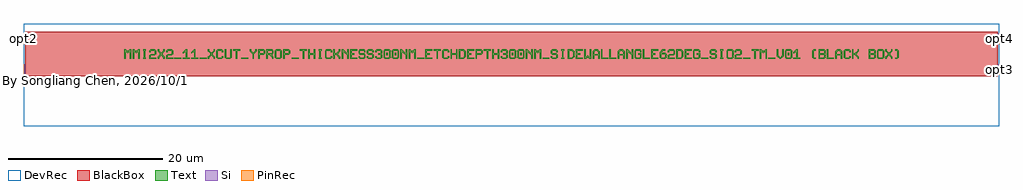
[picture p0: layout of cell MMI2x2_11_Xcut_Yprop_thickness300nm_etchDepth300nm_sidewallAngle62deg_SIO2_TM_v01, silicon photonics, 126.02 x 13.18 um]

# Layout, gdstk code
import gdstk
lib = gdstk.Library(unit=1e-6, precision=1e-10)
def R(c, l, rs):  # rectangles x0, y0, x1, y1
    for r in rs: c.add(gdstk.rectangle(r[:2], r[2:], *l))
def A(c, l, x, y, w, h, nx, ny, dx, dy):  # array of equal rectangles
    R(c, l, [(x+i*dx, y+j*dy, x+i*dx+w, y+j*dy+h) for i in range(nx) for j in range(ny)])
def P(c, l, *ps):  # polygons
    for p in ps: c.add(gdstk.Polygon(p, *l))
Si = (1, 0)
PinRec = (1, 10)
Text = (10, 0)
DevRec = (68, 0)
BlackBox = (998, 0)

text = lib.new_cell('TEXT')
A(text, Text, 21.6, 0, 0.9, 0.18, 3, 1, 16.2, 0)
R(text, Text, [(6.48,0,7.38,0.18), (9.72,0,10.62,0.18), (15.12,0,16.02,0.18), (74.52,0,75.42,0.18), (79.92,0,80.82,0.18), (83.16,0,84.06,0.18), (33.84,0.45,34.02,0.81), (34.92,0.45,35.1,0.81), (50.04,0.45,50.22,0.81), (51.12,0.45,51.3,0.81), (85.68,0.45,85.86,0.81)])
P(text, Text, [(0,0),(0,1.261),(0.18,1.261),(0.36,1.08),(0.54,1.08),(0.72,1.261),(0.9,1.261),(0.9,0),(0.72,0),(0.72,0.9),(0.63,0.9),(0.45,0.72),(0.27,0.9),(0.18,0.9),(0.18,0)],
  [(1.08,0),(1.08,1.261),(1.26,1.261),(1.44,1.08),(1.62,1.08),(1.8,1.261),(1.98,1.261),(1.98,0),(1.8,0),(1.8,0.9),(1.71,0.9),(1.53,0.72),(1.35,0.9),(1.26,0.9),(1.26,0)],
  [(2.43,0),(2.43,0.18),(2.52,0.18),(2.52,1.08),(2.43,1.08),(2.43,1.261),(2.79,1.261),(2.79,1.08),(2.7,1.08),(2.7,0.18),(2.79,0.18),(2.79,0)],
  [(3.24,0),(3.24,0.45),(3.42,0.63),(3.87,0.63),(3.96,0.72),(3.96,0.99),(3.87,1.08),(3.51,1.08),(3.42,0.99),(3.42,0.9),(3.24,0.9),(3.24,1.08),(3.42,1.261),(3.96,1.261),(4.14,1.08),(4.14,0.63),(3.96,0.45),(3.51,0.45),(3.42,0.36),(3.42,0.18),(4.14,0.18),(4.14,0)],
  [(4.32,0),(4.32,0.27),(4.59,0.54),(4.59,0.72),(4.32,0.99),(4.32,1.261),(4.5,1.261),(4.5,1.08),(4.77,0.81),(5.04,1.08),(5.04,1.261),(5.22,1.261),(5.22,0.99),(4.95,0.72),(4.95,0.54),(5.22,0.27),(5.22,0),(5.04,0),(5.04,0.18),(4.77,0.45),(4.5,0.18),(4.5,0)],
  [(5.4,0),(5.4,0.45),(5.58,0.63),(6.03,0.63),(6.12,0.72),(6.12,0.99),(6.03,1.08),(5.67,1.08),(5.58,0.99),(5.58,0.9),(5.4,0.9),(5.4,1.08),(5.58,1.261),(6.12,1.261),(6.3,1.08),(6.3,0.63),(6.12,0.45),(5.67,0.45),(5.58,0.36),(5.58,0.18),(6.3,0.18),(6.3,0)],
  [(7.56,0),(7.56,0.18),(7.92,0.18),(7.92,0.9),(7.83,0.9),(7.65,0.72),(7.56,0.72),(7.56,0.9),(7.92,1.261),(8.1,1.261),(8.1,0.18),(8.46,0.18),(8.46,0)],
  [(8.64,0),(8.64,0.18),(9,0.18),(9,0.9),(8.91,0.9),(8.73,0.72),(8.64,0.72),(8.64,0.9),(9,1.261),(9.18,1.261),(9.18,0.18),(9.54,0.18),(9.54,0)],
  [(10.8,0),(10.8,0.27),(11.07,0.54),(11.07,0.72),(10.8,0.99),(10.8,1.261),(10.98,1.261),(10.98,1.08),(11.25,0.81),(11.52,1.08),(11.52,1.261),(11.7,1.261),(11.7,0.99),(11.43,0.72),(11.43,0.54),(11.7,0.27),(11.7,0),(11.52,0),(11.52,0.18),(11.25,0.45),(10.98,0.18),(10.98,0)],
  [(12.06,0),(11.88,0.18),(11.88,1.08),(12.06,1.261),(12.6,1.261),(12.78,1.08),(12.78,0.9),(12.6,0.9),(12.6,0.99),(12.51,1.08),(12.15,1.08),(12.06,0.99),(12.06,0.27),(12.15,0.18),(12.51,0.18),(12.6,0.27),(12.6,0.36),(12.78,0.36),(12.78,0.18),(12.6,0)],
  [(13.14,0),(12.96,0.18),(12.96,1.261),(13.14,1.261),(13.14,0.27),(13.23,0.18),(13.59,0.18),(13.68,0.27),(13.68,1.261),(13.86,1.261),(13.86,0.18),(13.68,0)],
  [(14.4,0),(14.4,1.08),(14.04,1.08),(14.04,1.261),(14.94,1.261),(14.94,1.08),(14.58,1.08),(14.58,0)],
  [(16.56,0),(16.56,0.63),(16.2,0.99),(16.2,1.261),(16.38,1.261),(16.38,1.08),(16.65,0.81),(16.92,1.08),(16.92,1.261),(17.1,1.261),(17.1,0.99),(16.74,0.63),(16.74,0)],
  [(17.28,0),(17.28,1.261),(18,1.261),(18.18,1.08),(18.18,0.72),(18,0.54),(17.46,0.54),(17.46,0.72),(17.91,0.72),(18,0.81),(18,0.99),(17.91,1.08),(17.46,1.08),(17.46,0)],
  [(18.36,0),(18.36,1.261),(19.08,1.261),(19.26,1.08),(18.54,1.08),(18.54,0.72),(18.99,0.72),(19.08,0.81),(19.08,0.99),(18.99,1.08),(19.26,1.08),(19.26,0.72),(19.08,0.54),(19.08,0.45),(19.26,0.27),(19.26,0),(19.08,0),(19.08,0.18),(18.72,0.54),(18.54,0.54),(18.54,0)],
  [(19.62,0),(19.44,0.18),(19.44,1.08),(19.62,1.261),(20.16,1.261),(20.34,1.08),(20.34,0.63),(20.16,0.63),(20.16,0.99),(20.07,1.08),(19.71,1.08),(19.62,0.99),(19.62,0.27),(19.71,0.18),(20.07,0.18),(20.16,0.27),(20.16,0.63),(20.34,0.63),(20.34,0.18),(20.16,0)],
  [(20.52,0),(20.52,1.261),(21.24,1.261),(21.42,1.08),(21.42,0.72),(21.24,0.54),(20.7,0.54),(20.7,0.72),(21.15,0.72),(21.24,0.81),(21.24,0.99),(21.15,1.08),(20.7,1.08),(20.7,0)],
  [(23.04,0),(23.04,1.08),(22.68,1.08),(22.68,1.261),(23.58,1.261),(23.58,1.08),(23.22,1.08),(23.22,0)],
  [(23.76,0),(23.76,1.261),(23.94,1.261),(23.94,0.72),(24.48,0.72),(24.48,1.261),(24.66,1.261),(24.66,0),(24.48,0),(24.48,0.54),(23.94,0.54),(23.94,0)],
  [(25.11,0),(25.11,0.18),(25.2,0.18),(25.2,1.08),(25.11,1.08),(25.11,1.261),(25.47,1.261),(25.47,1.08),(25.38,1.08),(25.38,0.18),(25.47,0.18),(25.47,0)],
  [(26.1,0),(25.92,0.18),(25.92,1.08),(26.1,1.261),(26.64,1.261),(26.82,1.08),(26.82,0.9),(26.64,0.9),(26.64,0.99),(26.55,1.08),(26.19,1.08),(26.1,0.99),(26.1,0.27),(26.19,0.18),(26.55,0.18),(26.64,0.27),(26.64,0.36),(26.82,0.36),(26.82,0.18),(26.64,0)],
  [(27,0),(27,1.261),(27.18,1.261),(27.18,0.72),(27.36,0.72),(27.72,1.08),(27.72,1.261),(27.9,1.261),(27.9,0.99),(27.54,0.63),(27.9,0.27),(27.9,0),(27.72,0),(27.72,0.18),(27.36,0.54),(27.18,0.54),(27.18,0)],
  [(28.08,0),(28.08,1.261),(28.26,1.261),(28.71,0.81),(28.8,0.81),(28.8,1.261),(28.98,1.261),(28.98,0),(28.8,0),(28.8,0.45),(28.35,0.9),(28.26,0.9),(28.26,0)],
  [(29.16,0),(29.16,1.261),(30.06,1.261),(30.06,1.08),(29.34,1.08),(29.34,0.72),(29.7,0.72),(29.7,0.54),(29.34,0.54),(29.34,0.18),(30.06,0.18),(30.06,0)],
  [(30.42,0),(30.24,0.18),(30.24,0.36),(30.42,0.36),(30.42,0.27),(30.51,0.18),(30.87,0.18),(30.96,0.27),(30.96,0.45),(30.87,0.54),(30.42,0.54),(30.24,0.72),(30.24,1.08),(30.42,1.261),(30.96,1.261),(31.14,1.08),(31.14,0.9),(30.96,0.9),(30.96,0.99),(30.87,1.08),(30.51,1.08),(30.42,0.99),(30.42,0.81),(30.51,0.72),(30.96,0.72),(31.14,0.54),(31.14,0.18),(30.96,0)],
  [(31.5,0),(31.32,0.18),(31.32,0.36),(31.5,0.36),(31.5,0.27),(31.59,0.18),(31.95,0.18),(32.04,0.27),(32.04,0.45),(31.95,0.54),(31.5,0.54),(31.32,0.72),(31.32,1.08),(31.5,1.261),(32.04,1.261),(32.22,1.08),(32.22,0.9),(32.04,0.9),(32.04,0.99),(31.95,1.08),(31.59,1.08),(31.5,0.99),(31.5,0.81),(31.59,0.72),(32.04,0.72),(32.22,0.54),(32.22,0.18),(32.04,0)],
  [(32.58,0),(32.4,0.18),(32.4,0.36),(32.58,0.36),(32.58,0.27),(32.67,0.18),(33.03,0.18),(33.12,0.27),(33.12,0.45),(33.03,0.54),(32.76,0.54),(32.76,0.72),(33.03,0.72),(33.12,0.81),(33.12,0.99),(33.03,1.08),(32.67,1.08),(32.58,0.99),(32.58,0.9),(32.4,0.9),(32.4,1.08),(32.58,1.261),(33.12,1.261),(33.3,1.08),(33.3,0.72),(33.21,0.63),(33.3,0.54),(33.3,0.18),(33.12,0)],
  [(33.66,0),(33.48,0.18),(33.48,1.08),(33.66,1.261),(34.2,1.261),(34.38,1.08),(33.75,1.08),(33.66,0.99),(33.66,0.27),(33.75,0.18),(34.11,0.18),(34.2,0.27),(34.2,0.99),(34.11,1.08),(34.38,1.08),(34.38,0.18),(34.2,0)],
  [(34.74,0),(34.56,0.18),(34.56,1.08),(34.74,1.261),(35.28,1.261),(35.46,1.08),(34.83,1.08),(34.74,0.99),(34.74,0.27),(34.83,0.18),(35.19,0.18),(35.28,0.27),(35.28,0.99),(35.19,1.08),(35.46,1.08),(35.46,0.18),(35.28,0)],
  [(35.64,0),(35.64,1.261),(35.82,1.261),(36.27,0.81),(36.36,0.81),(36.36,1.261),(36.54,1.261),(36.54,0),(36.36,0),(36.36,0.45),(35.91,0.9),(35.82,0.9),(35.82,0)],
  [(36.72,0),(36.72,1.261),(36.9,1.261),(37.08,1.08),(37.26,1.08),(37.44,1.261),(37.62,1.261),(37.62,0),(37.44,0),(37.44,0.9),(37.35,0.9),(37.17,0.72),(36.99,0.9),(36.9,0.9),(36.9,0)],
  [(38.88,0),(38.88,1.261),(39.78,1.261),(39.78,1.08),(39.06,1.08),(39.06,0.72),(39.42,0.72),(39.42,0.54),(39.06,0.54),(39.06,0.18),(39.78,0.18),(39.78,0)],
  [(40.32,0),(40.32,1.08),(39.96,1.08),(39.96,1.261),(40.86,1.261),(40.86,1.08),(40.5,1.08),(40.5,0)],
  [(41.22,0),(41.04,0.18),(41.04,1.08),(41.22,1.261),(41.76,1.261),(41.94,1.08),(41.94,0.9),(41.76,0.9),(41.76,0.99),(41.67,1.08),(41.31,1.08),(41.22,0.99),(41.22,0.27),(41.31,0.18),(41.67,0.18),(41.76,0.27),(41.76,0.36),(41.94,0.36),(41.94,0.18),(41.76,0)],
  [(42.12,0),(42.12,1.261),(42.3,1.261),(42.3,0.72),(42.84,0.72),(42.84,1.261),(43.02,1.261),(43.02,0),(42.84,0),(42.84,0.54),(42.3,0.54),(42.3,0)],
  [(43.2,0),(43.2,1.261),(43.83,1.261),(44.01,1.08),(43.38,1.08),(43.38,0.18),(43.74,0.18),(43.92,0.36),(43.92,0.9),(43.74,1.08),(44.01,1.08),(44.1,0.99),(44.1,0.27),(43.83,0)],
  [(44.28,0),(44.28,1.261),(45.18,1.261),(45.18,1.08),(44.46,1.08),(44.46,0.72),(44.82,0.72),(44.82,0.54),(44.46,0.54),(44.46,0.18),(45.18,0.18),(45.18,0)],
  [(45.36,0),(45.36,1.261),(46.08,1.261),(46.26,1.08),(46.26,0.72),(46.08,0.54),(45.54,0.54),(45.54,0.72),(45.99,0.72),(46.08,0.81),(46.08,0.99),(45.99,1.08),(45.54,1.08),(45.54,0)],
  [(46.8,0),(46.8,1.08),(46.44,1.08),(46.44,1.261),(47.34,1.261),(47.34,1.08),(46.98,1.08),(46.98,0)],
  [(47.52,0),(47.52,1.261),(47.7,1.261),(47.7,0.72),(48.24,0.72),(48.24,1.261),(48.42,1.261),(48.42,0),(48.24,0),(48.24,0.54),(47.7,0.54),(47.7,0)],
  [(48.78,0),(48.6,0.18),(48.6,0.36),(48.78,0.36),(48.78,0.27),(48.87,0.18),(49.23,0.18),(49.32,0.27),(49.32,0.45),(49.23,0.54),(48.96,0.54),(48.96,0.72),(49.23,0.72),(49.32,0.81),(49.32,0.99),(49.23,1.08),(48.87,1.08),(48.78,0.99),(48.78,0.9),(48.6,0.9),(48.6,1.08),(48.78,1.261),(49.32,1.261),(49.5,1.08),(49.5,0.72),(49.41,0.63),(49.5,0.54),(49.5,0.18),(49.32,0)],
  [(49.86,0),(49.68,0.18),(49.68,1.08),(49.86,1.261),(50.4,1.261),(50.58,1.08),(49.95,1.08),(49.86,0.99),(49.86,0.27),(49.95,0.18),(50.31,0.18),(50.4,0.27),(50.4,0.99),(50.31,1.08),(50.58,1.08),(50.58,0.18),(50.4,0)],
  [(50.94,0),(50.76,0.18),(50.76,1.08),(50.94,1.261),(51.48,1.261),(51.66,1.08),(51.03,1.08),(50.94,0.99),(50.94,0.27),(51.03,0.18),(51.39,0.18),(51.48,0.27),(51.48,0.99),(51.39,1.08),(51.66,1.08),(51.66,0.18),(51.48,0)],
  [(51.84,0),(51.84,1.261),(52.02,1.261),(52.47,0.81),(52.56,0.81),(52.56,1.261),(52.74,1.261),(52.74,0),(52.56,0),(52.56,0.45),(52.11,0.9),(52.02,0.9),(52.02,0)],
  [(52.92,0),(52.92,1.261),(53.1,1.261),(53.28,1.08),(53.46,1.08),(53.64,1.261),(53.82,1.261),(53.82,0),(53.64,0),(53.64,0.9),(53.55,0.9),(53.37,0.72),(53.19,0.9),(53.1,0.9),(53.1,0)],
  [(55.26,0),(55.08,0.18),(55.08,0.36),(55.26,0.36),(55.26,0.27),(55.35,0.18),(55.71,0.18),(55.8,0.27),(55.8,0.45),(55.71,0.54),(55.26,0.54),(55.08,0.72),(55.08,1.08),(55.26,1.261),(55.8,1.261),(55.98,1.08),(55.98,0.9),(55.8,0.9),(55.8,0.99),(55.71,1.08),(55.35,1.08),(55.26,0.99),(55.26,0.81),(55.35,0.72),(55.8,0.72),(55.98,0.54),(55.98,0.18),(55.8,0)],
  [(56.43,0),(56.43,0.18),(56.52,0.18),(56.52,1.08),(56.43,1.08),(56.43,1.261),(56.79,1.261),(56.79,1.08),(56.7,1.08),(56.7,0.18),(56.79,0.18),(56.79,0)],
  [(57.24,0),(57.24,1.261),(57.87,1.261),(58.05,1.08),(57.42,1.08),(57.42,0.18),(57.78,0.18),(57.96,0.36),(57.96,0.9),(57.78,1.08),(58.05,1.08),(58.14,0.99),(58.14,0.27),(57.87,0)],
  [(58.32,0),(58.32,1.261),(59.22,1.261),(59.22,1.08),(58.5,1.08),(58.5,0.72),(58.86,0.72),(58.86,0.54),(58.5,0.54),(58.5,0.18),(59.22,0.18),(59.22,0)],
  [(59.4,0),(59.4,1.261),(59.58,1.261),(59.58,0.27),(59.67,0.27),(59.85,0.45),(60.03,0.27),(60.12,0.27),(60.12,1.261),(60.3,1.261),(60.3,0),(60.03,0),(59.85,0.18),(59.67,0)],
  [(60.48,0),(60.48,0.99),(60.75,1.261),(61.11,1.261),(61.29,1.08),(60.84,1.08),(60.66,0.9),(60.66,0.63),(61.2,0.63),(61.2,0.9),(61.02,1.08),(61.29,1.08),(61.38,0.99),(61.38,0),(61.2,0),(61.2,0.45),(60.66,0.45),(60.66,0)],
  [(61.56,0),(61.56,1.261),(61.74,1.261),(61.74,0.18),(62.46,0.18),(62.46,0)],
  [(62.64,0),(62.64,1.261),(62.82,1.261),(62.82,0.18),(63.54,0.18),(63.54,0)],
  [(63.72,0),(63.72,0.99),(63.99,1.261),(64.35,1.261),(64.53,1.08),(64.08,1.08),(63.9,0.9),(63.9,0.63),(64.44,0.63),(64.44,0.9),(64.26,1.08),(64.53,1.08),(64.62,0.99),(64.62,0),(64.44,0),(64.44,0.45),(63.9,0.45),(63.9,0)],
  [(64.8,0),(64.8,1.261),(64.98,1.261),(65.43,0.81),(65.52,0.81),(65.52,1.261),(65.7,1.261),(65.7,0),(65.52,0),(65.52,0.45),(65.07,0.9),(64.98,0.9),(64.98,0)],
  [(66.06,0),(65.88,0.18),(65.88,1.08),(66.06,1.261),(66.6,1.261),(66.78,1.08),(66.78,0.9),(66.6,0.9),(66.6,0.99),(66.51,1.08),(66.15,1.08),(66.06,0.99),(66.06,0.27),(66.15,0.18),(66.51,0.18),(66.6,0.27),(66.6,0.54),(66.33,0.54),(66.33,0.72),(66.78,0.72),(66.78,0.18),(66.6,0)],
  [(66.96,0),(66.96,1.261),(67.14,1.261),(67.14,0.18),(67.86,0.18),(67.86,0)],
  [(68.04,0),(68.04,1.261),(68.94,1.261),(68.94,1.08),(68.22,1.08),(68.22,0.72),(68.58,0.72),(68.58,0.54),(68.22,0.54),(68.22,0.18),(68.94,0.18),(68.94,0)],
  [(69.3,0),(69.12,0.18),(69.12,0.9),(69.48,1.261),(69.84,1.261),(69.84,1.08),(69.57,1.08),(69.39,0.9),(69.39,0.81),(69.84,0.81),(70.02,0.63),(69.39,0.63),(69.3,0.54),(69.3,0.27),(69.39,0.18),(69.75,0.18),(69.84,0.27),(69.84,0.54),(69.75,0.63),(70.02,0.63),(70.02,0.18),(69.84,0)],
  [(70.2,0),(70.2,0.45),(70.38,0.63),(70.83,0.63),(70.92,0.72),(70.92,0.99),(70.83,1.08),(70.47,1.08),(70.38,0.99),(70.38,0.9),(70.2,0.9),(70.2,1.08),(70.38,1.261),(70.92,1.261),(71.1,1.08),(71.1,0.63),(70.92,0.45),(70.47,0.45),(70.38,0.36),(70.38,0.18),(71.1,0.18),(71.1,0)],
  [(71.28,0),(71.28,1.261),(71.91,1.261),(72.09,1.08),(71.46,1.08),(71.46,0.18),(71.82,0.18),(72,0.36),(72,0.9),(71.82,1.08),(72.09,1.08),(72.18,0.99),(72.18,0.27),(71.91,0)],
  [(72.36,0),(72.36,1.261),(73.26,1.261),(73.26,1.08),(72.54,1.08),(72.54,0.72),(72.9,0.72),(72.9,0.54),(72.54,0.54),(72.54,0.18),(73.26,0.18),(73.26,0)],
  [(73.62,0),(73.44,0.18),(73.44,1.08),(73.62,1.261),(74.16,1.261),(74.34,1.08),(74.34,0.9),(74.16,0.9),(74.16,0.99),(74.07,1.08),(73.71,1.08),(73.62,0.99),(73.62,0.27),(73.71,0.18),(74.07,0.18),(74.16,0.27),(74.16,0.54),(73.89,0.54),(73.89,0.72),(74.34,0.72),(74.34,0.18),(74.16,0)],
  [(75.78,0),(75.6,0.18),(75.6,0.36),(75.78,0.36),(75.78,0.27),(75.87,0.18),(76.23,0.18),(76.32,0.27),(76.32,0.45),(76.23,0.54),(75.78,0.54),(75.6,0.72),(75.6,1.08),(75.78,1.261),(76.32,1.261),(76.5,1.08),(76.5,0.9),(76.32,0.9),(76.32,0.99),(76.23,1.08),(75.87,1.08),(75.78,0.99),(75.78,0.81),(75.87,0.72),(76.32,0.72),(76.5,0.54),(76.5,0.18),(76.32,0)],
  [(76.95,0),(76.95,0.18),(77.04,0.18),(77.04,1.08),(76.95,1.08),(76.95,1.261),(77.31,1.261),(77.31,1.08),(77.22,1.08),(77.22,0.18),(77.31,0.18),(77.31,0)],
  [(77.94,0),(77.76,0.18),(77.76,1.08),(77.94,1.261),(78.48,1.261),(78.66,1.08),(78.66,0.63),(78.48,0.63),(78.48,0.99),(78.39,1.08),(78.03,1.08),(77.94,0.99),(77.94,0.27),(78.03,0.18),(78.39,0.18),(78.48,0.27),(78.48,0.63),(78.66,0.63),(78.66,0.18),(78.48,0)],
  [(78.84,0),(78.84,0.45),(79.02,0.63),(79.47,0.63),(79.56,0.72),(79.56,0.99),(79.47,1.08),(79.11,1.08),(79.02,0.99),(79.02,0.9),(78.84,0.9),(78.84,1.08),(79.02,1.261),(79.56,1.261),(79.74,1.08),(79.74,0.63),(79.56,0.45),(79.11,0.45),(79.02,0.36),(79.02,0.18),(79.74,0.18),(79.74,0)],
  [(81.36,0),(81.36,1.08),(81,1.08),(81,1.261),(81.9,1.261),(81.9,1.08),(81.54,1.08),(81.54,0)],
  [(82.08,0),(82.08,1.261),(82.26,1.261),(82.44,1.08),(82.62,1.08),(82.8,1.261),(82.98,1.261),(82.98,0),(82.8,0),(82.8,0.9),(82.71,0.9),(82.53,0.72),(82.35,0.9),(82.26,0.9),(82.26,0)],
  [(84.6,0),(84.24,0.36),(84.24,1.261),(84.42,1.261),(84.42,0.45),(84.69,0.18),(84.96,0.45),(84.96,1.261),(85.14,1.261),(85.14,0.36),(84.78,0)],
  [(85.5,0),(85.32,0.18),(85.32,1.08),(85.5,1.261),(86.04,1.261),(86.22,1.08),(85.59,1.08),(85.5,0.99),(85.5,0.27),(85.59,0.18),(85.95,0.18),(86.04,0.27),(86.04,0.99),(85.95,1.08),(86.22,1.08),(86.22,0.18),(86.04,0)],
  [(86.4,0),(86.4,0.18),(86.76,0.18),(86.76,0.9),(86.67,0.9),(86.49,0.72),(86.4,0.72),(86.4,0.9),(86.76,1.261),(86.94,1.261),(86.94,0.18),(87.3,0.18),(87.3,0)],
  [(89.01,0),(88.83,0.18),(88.83,1.08),(89.01,1.261),(89.28,1.261),(89.28,1.08),(89.1,1.08),(89.01,0.99),(89.01,0.27),(89.1,0.18),(89.28,0.18),(89.28,0)],
  [(89.64,0),(89.64,1.261),(90.36,1.261),(90.54,1.08),(89.82,1.08),(89.82,0.72),(90.27,0.72),(90.36,0.81),(90.36,0.99),(90.27,1.08),(90.54,1.08),(90.54,0.72),(90.45,0.63),(90.54,0.54),(89.82,0.54),(89.82,0.18),(90.27,0.18),(90.36,0.27),(90.36,0.45),(90.27,0.54),(90.54,0.54),(90.54,0.18),(90.36,0)],
  [(90.72,0),(90.72,1.261),(90.9,1.261),(90.9,0.18),(91.62,0.18),(91.62,0)],
  [(91.8,0),(91.8,0.99),(92.07,1.261),(92.43,1.261),(92.61,1.08),(92.16,1.08),(91.98,0.9),(91.98,0.63),(92.52,0.63),(92.52,0.9),(92.34,1.08),(92.61,1.08),(92.7,0.99),(92.7,0),(92.52,0),(92.52,0.45),(91.98,0.45),(91.98,0)],
  [(93.06,0),(92.88,0.18),(92.88,1.08),(93.06,1.261),(93.6,1.261),(93.78,1.08),(93.78,0.9),(93.6,0.9),(93.6,0.99),(93.51,1.08),(93.15,1.08),(93.06,0.99),(93.06,0.27),(93.15,0.18),(93.51,0.18),(93.6,0.27),(93.6,0.36),(93.78,0.36),(93.78,0.18),(93.6,0)],
  [(93.96,0),(93.96,1.261),(94.14,1.261),(94.14,0.72),(94.32,0.72),(94.68,1.08),(94.68,1.261),(94.86,1.261),(94.86,0.99),(94.5,0.63),(94.86,0.27),(94.86,0),(94.68,0),(94.68,0.18),(94.32,0.54),(94.14,0.54),(94.14,0)],
  [(96.12,0),(96.12,1.261),(96.84,1.261),(97.02,1.08),(96.3,1.08),(96.3,0.72),(96.75,0.72),(96.84,0.81),(96.84,0.99),(96.75,1.08),(97.02,1.08),(97.02,0.72),(96.93,0.63),(97.02,0.54),(96.3,0.54),(96.3,0.18),(96.75,0.18),(96.84,0.27),(96.84,0.45),(96.75,0.54),(97.02,0.54),(97.02,0.18),(96.84,0)],
  [(97.38,0),(97.2,0.18),(97.2,1.08),(97.38,1.261),(97.92,1.261),(98.1,1.08),(98.1,0.63),(97.92,0.63),(97.92,0.99),(97.83,1.08),(97.47,1.08),(97.38,0.99),(97.38,0.27),(97.47,0.18),(97.83,0.18),(97.92,0.27),(97.92,0.63),(98.1,0.63),(98.1,0.18),(97.92,0)],
  [(98.28,0),(98.28,0.27),(98.55,0.54),(98.55,0.72),(98.28,0.99),(98.28,1.261),(98.46,1.261),(98.46,1.08),(98.73,0.81),(99,1.08),(99,1.261),(99.18,1.261),(99.18,0.99),(98.91,0.72),(98.91,0.54),(99.18,0.27),(99.18,0),(99,0),(99,0.18),(98.73,0.45),(98.46,0.18),(98.46,0)],
  [(99.54,0),(99.54,0.18),(99.72,0.18),(99.81,0.27),(99.81,0.99),(99.72,1.08),(99.54,1.08),(99.54,1.261),(99.81,1.261),(99.99,1.08),(99.99,0.18),(99.81,0)])

mmi2x2_11_xcut_yprop_thi = lib.new_cell('MMI2x2_11_Xcut_Yprop_thickness300nm_etchDepth300nm_sidewallAngle62deg_SIO2_TM_v01')
R(mmi2x2_11_xcut_yprop_thi, Si, [(-63,-2.6905,-62.8,-1.2905), (62.8,-2.6905,63,-1.2905), (-63,1.2905,-62.8,2.6905), (62.8,1.2905,63,2.6905)])
R(mmi2x2_11_xcut_yprop_thi, DevRec, [(-63,-9.2905,63,3.8905)])
R(mmi2x2_11_xcut_yprop_thi, BlackBox, [(-62.8,-2.8905,62.8,2.8905)])
mmi2x2_11_xcut_yprop_thi.add(gdstk.FlexPath([(-62.99,-1.9905),(-63.01,-1.9905)], 1.4, ends="flush", simple_path=True, layer=1, datatype=10))  # PinRec
mmi2x2_11_xcut_yprop_thi.add(gdstk.FlexPath([(-62.99,1.9905),(-63.01,1.9905)], 1.4, ends="flush", simple_path=True, layer=1, datatype=10))  # PinRec
mmi2x2_11_xcut_yprop_thi.add(gdstk.FlexPath([(62.99,-1.9905),(63.01,-1.9905)], 1.4, ends="flush", simple_path=True, layer=1, datatype=10))  # PinRec
mmi2x2_11_xcut_yprop_thi.add(gdstk.FlexPath([(62.99,1.9905),(63.01,1.9905)], 1.4, ends="flush", simple_path=True, layer=1, datatype=10))  # PinRec
mmi2x2_11_xcut_yprop_thi.add(gdstk.Reference(text, (-49.995,-0.6305)))
mmi2x2_11_xcut_yprop_thi.add(gdstk.Label('By Songliang Chen, 2026/10/13', (-62.5,-3.3905), layer=10, texttype=0))
mmi2x2_11_xcut_yprop_thi.add(gdstk.Label('opt1', (-63,-1.9905), layer=1, texttype=10))
mmi2x2_11_xcut_yprop_thi.add(gdstk.Label('opt2', (-63,1.9905), layer=1, texttype=10))
mmi2x2_11_xcut_yprop_thi.add(gdstk.Label('opt3', (63,-1.9905), layer=1, texttype=10))
mmi2x2_11_xcut_yprop_thi.add(gdstk.Label('opt4', (63,1.9905), layer=1, texttype=10))

lib.write_gds('MMI2x2_11_Xcut_Yprop_thickness300nm_etchDepth300nm_sidewallAngle62deg_SIO2_TM_v01.gds')
